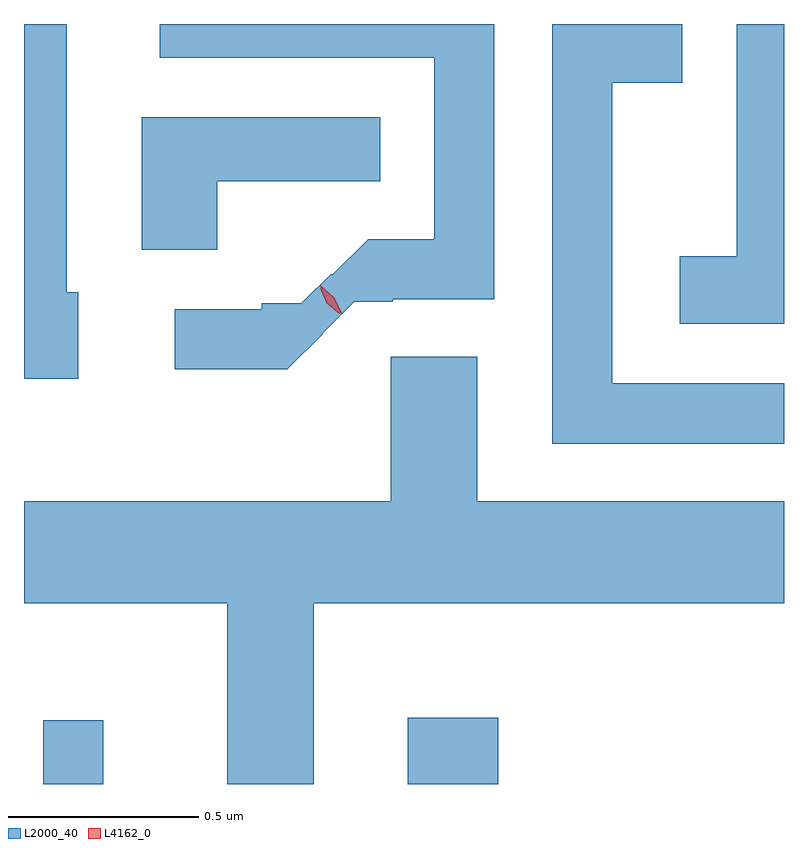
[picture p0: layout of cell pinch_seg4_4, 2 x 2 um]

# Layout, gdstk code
import gdstk
lib = gdstk.Library(unit=1e-6, precision=1e-09)
def R(c, l, rs):  # rectangles x0, y0, x1, y1
    for r in rs: c.add(gdstk.rectangle(r[:2], r[2:], *l))
def P(c, l, *ps):  # polygons
    for p in ps: c.add(gdstk.Polygon(p, *l))
L2000_40 = (2000, 40)
L4162_0 = (4162, 0)

pinch_seg4_4 = lib.new_cell('pinch_seg4_4')
R(pinch_seg4_4, L2000_40, [(857.356,1320.9,857.514,1321.068), (858.316,1320.9,858.554,1321.074)])
P(pinch_seg4_4, L2000_40, [(857.449,1322.194),(857.419,1322.194),(857.419,1322.9),(857.306,1322.9),(857.306,1321.966),(857.449,1321.966)],
  [(859.306,1321.954),(858.854,1321.954),(858.854,1322.746),(859.038,1322.746),(859.038,1322.9),(858.696,1322.9),(858.696,1321.796),(859.306,1321.796)],
  [(859.306,1322.9),(859.181,1322.9),(859.181,1322.289),(859.031,1322.289),(859.031,1322.111),(859.306,1322.111)],
  [(858.092,1322.084),(858.091,1322.085),(858.175,1322.169),(858.277,1322.169),(858.277,1322.176),(858.544,1322.176),(858.544,1322.9),(857.663,1322.9),(857.663,1322.811),(858.386,1322.811),(858.386,1322.334),(858.212,1322.334),(858.117,1322.24),(858.114,1322.243),(858.036,1322.165),(857.931,1322.165),(857.931,1322.149),(857.703,1322.149),(857.703,1321.991),(857.999,1321.991)],
  [(857.814,1322.486),(858.243,1322.486),(858.243,1322.654),(857.616,1322.654),(857.616,1322.306),(857.814,1322.306)],
  [(858.069,1321.376),(859.306,1321.376),(859.306,1321.644),(858.499,1321.644),(858.499,1322.024),(858.271,1322.024),(858.271,1321.644),(857.306,1321.644),(857.306,1321.376),(857.841,1321.376),(857.841,1320.9),(858.069,1320.9)])
P(pinch_seg4_4, L4162_0, [(858.136,1322.138),(858.103,1322.165),(858.085,1322.204),(858.085,1322.204),(858.086,1322.204),(858.119,1322.177),(858.137,1322.139),(858.137,1322.138)],
  [(858.142,1322.137),(858.106,1322.168),(858.085,1322.211),(858.085,1322.212),(858.086,1322.212),(858.122,1322.18),(858.143,1322.138),(858.143,1322.137)])

lib.write_gds('pinch_seg4_4.gds')
